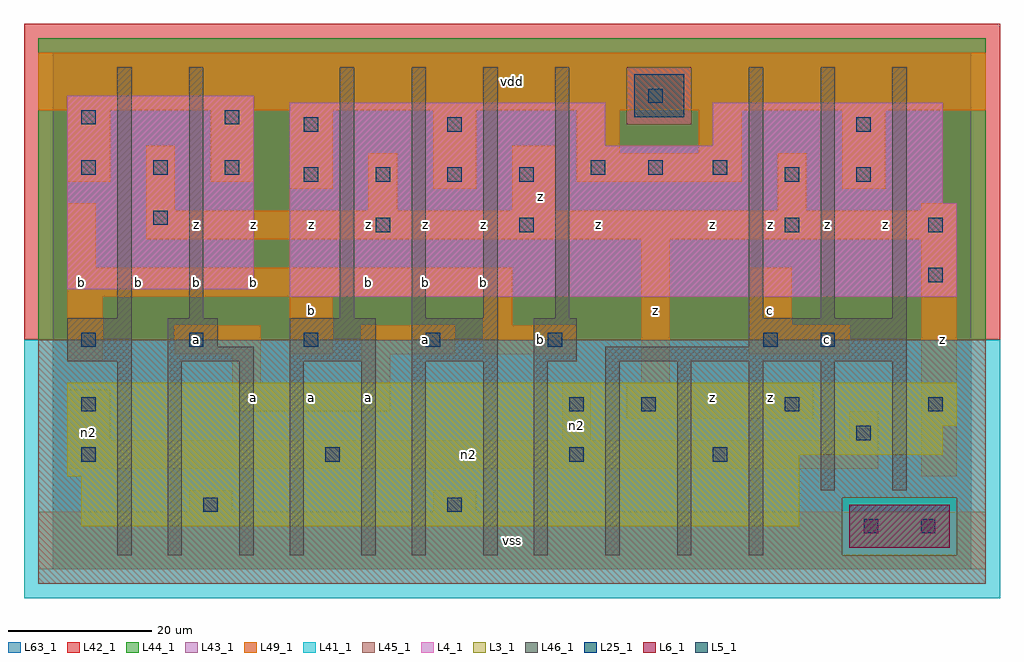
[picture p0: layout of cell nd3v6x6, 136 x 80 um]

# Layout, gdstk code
import gdstk
lib = gdstk.Library(unit=1e-6, precision=1e-09)
def R(c, l, rs):  # rectangles x0, y0, x1, y1
    for r in rs: c.add(gdstk.rectangle(r[:2], r[2:], *l))
def A(c, l, x, y, w, h, nx, ny, dx, dy):  # array of equal rectangles
    R(c, l, [(x+i*dx, y+j*dy, x+i*dx+w, y+j*dy+h) for i in range(nx) for j in range(ny)])
L3_1 = (3, 1)
L4_1 = (4, 1)
L5_1 = (5, 1)
L6_1 = (6, 1)
L25_1 = (25, 1)
L41_1 = (41, 1)
L42_1 = (42, 1)
L43_1 = (43, 1)
L44_1 = (44, 1)
L45_1 = (45, 1)
L46_1 = (46, 1)
L49_1 = (49, 1)
L63_1 = (63, 1)

nd3v6x6 = lib.new_cell('nd3v6x6')
R(nd3v6x6, L3_1, [(4,6,104,13), (2,13,104,16), (2,16,124,20), (2,20,126,26)])
R(nd3v6x6, L4_1, [(33,38,126,51), (2,39,28,66), (33,51,124,59), (33,59,77,65), (92,59,124,65)])
R(nd3v6x6, L5_1, [(81,63,88,69)])
R(nd3v6x6, L6_1, [(111,3,125,9), (111,3,125,9)])
A(nd3v6x6, L25_1, 4, 15, 2, 2, 3, 1, 34, 0)
A(nd3v6x6, L25_1, 82, 22, 2, 2, 3, 1, 20, 0)
A(nd3v6x6, L25_1, 35, 31, 2, 2, 3, 1, 17, 0)
A(nd3v6x6, L25_1, 35, 54, 2, 2, 4, 1, 10, 0)
A(nd3v6x6, L25_1, 4, 55, 2, 2, 3, 1, 10, 0)
R(nd3v6x6, L25_1, [(113,5,115,7), (121,5,123,7), (21,8,23,10), (55,8,57,10), (92,15,94,17), (112,18,114,20), (4,22,6,24), (72,22,74,24), (4,31,6,33), (19,31,21,33), (99,31,101,33), (107,31,109,33), (122,40,124,42), (45,47,47,49), (65,47,67,49), (102,47,104,49), (122,47,124,49), (14,48,16,50), (102,54,104,56), (112,54,114,56), (75,55,77,57), (83,55,85,57), (92,55,94,57), (35,61,37,63), (55,61,57,63), (112,61,114,63), (4,62,6,64), (24,62,26,64), (83,65,85,67)])
R(nd3v6x6, L41_1, [(-4,-4,132,32)])
R(nd3v6x6, L42_1, [(-4,32,132,76)])
R(nd3v6x6, L43_1, [(111,3,125,9), (4,6,104,13), (2,13,104,16), (2,16,124,20), (2,20,126,26), (33,38,126,51), (2,39,28,66), (33,51,124,59), (33,59,77,65), (92,59,124,65), (81,63,88,69)])
R(nd3v6x6, L44_1, [(110,2,126,10), (-2,32,130,62), (-2,62,80,70), (89,62,130,70), (-2,70,130,74)])
R(nd3v6x6, L45_1, [(-2,-2,130,2), (-2,2,110,10), (126,2,130,10), (-2,10,130,32), (80,62,89,70)])
A(nd3v6x6, L46_1, 67, 2, 2, 27, 4, 1, 10, 0)
A(nd3v6x6, L46_1, 40, 35, 2, 35, 4, 1, 10, 0)
A(nd3v6x6, L46_1, 97, 35, 2, 35, 3, 1, 10, 0)
R(nd3v6x6, L46_1, [(9,2,11,29), (16,2,18,29), (26,2,28,29), (33,2,35,29), (43,2,45,29), (50,2,52,29), (60,2,62,29), (107,11,109,29), (117,11,119,29), (2,29,11,35), (16,29,28,31), (33,29,45,35), (50,29,62,35), (67,29,73,35), (77,29,119,31), (16,31,23,35), (97,31,119,35), (9,35,11,70), (19,35,21,70)])
R(nd3v6x6, L49_1, [(-2,0,130,8), (19,8,25,11), (53,8,59,11), (121,13,126,46), (2,14,115,18), (2,18,8,25), (71,18,75,26), (111,18,115,22), (80,21,106,26), (25,22,47,26), (25,26,29,30), (43,26,47,30), (82,26,86,46), (2,29,7,38), (17,30,29,34), (33,30,39,38), (43,30,56,34), (60,30,73,34), (97,30,111,34), (60,34,64,38), (97,34,103,42), (2,38,64,42), (2,42,6,51), (13,46,126,50), (13,50,17,59), (44,50,48,58), (64,50,70,59), (101,50,105,58), (121,50,126,51), (33,53,39,64), (53,53,59,64), (110,53,116,64), (2,54,8,64), (22,54,28,64), (73,54,96,58), (73,58,79,64), (90,58,96,64), (-2,64,130,72)])
R(nd3v6x6, L63_1, [(0,0,128,72)])
nd3v6x6.add(gdstk.Label('n2', (5,19), layer=49, texttype=1))
nd3v6x6.add(gdstk.Label('a', (20,32), layer=49, texttype=1))
nd3v6x6.add(gdstk.Label('b', (4,40), layer=49, texttype=1))
nd3v6x6.add(gdstk.Label('b', (12,40), layer=49, texttype=1))
nd3v6x6.add(gdstk.Label('b', (20,40), layer=49, texttype=1))
nd3v6x6.add(gdstk.Label('z', (20,48), layer=49, texttype=1))
nd3v6x6.add(gdstk.Label('a', (44,24), layer=49, texttype=1))
nd3v6x6.add(gdstk.Label('a', (36,24), layer=49, texttype=1))
nd3v6x6.add(gdstk.Label('a', (28,24), layer=49, texttype=1))
nd3v6x6.add(gdstk.Label('b', (28,40), layer=49, texttype=1))
nd3v6x6.add(gdstk.Label('b', (44,40), layer=49, texttype=1))
nd3v6x6.add(gdstk.Label('b', (36,36), layer=49, texttype=1))
nd3v6x6.add(gdstk.Label('z', (36,48), layer=49, texttype=1))
nd3v6x6.add(gdstk.Label('z', (44,48), layer=49, texttype=1))
nd3v6x6.add(gdstk.Label('z', (28,48), layer=49, texttype=1))
nd3v6x6.add(gdstk.Label('vss', (64,4), layer=49, texttype=1))
nd3v6x6.add(gdstk.Label('n2', (73,20), layer=49, texttype=1))
nd3v6x6.add(gdstk.Label('b', (68,32), layer=49, texttype=1))
nd3v6x6.add(gdstk.Label('a', (52,32), layer=49, texttype=1))
nd3v6x6.add(gdstk.Label('b', (52,40), layer=49, texttype=1))
nd3v6x6.add(gdstk.Label('b', (60,40), layer=49, texttype=1))
nd3v6x6.add(gdstk.Label('z', (52,48), layer=49, texttype=1))
nd3v6x6.add(gdstk.Label('z', (68,52), layer=49, texttype=1))
nd3v6x6.add(gdstk.Label('z', (60,48), layer=49, texttype=1))
nd3v6x6.add(gdstk.Label('vdd', (64,68), layer=49, texttype=1))
nd3v6x6.add(gdstk.Label('z', (100,24), layer=49, texttype=1))
nd3v6x6.add(gdstk.Label('z', (92,24), layer=49, texttype=1))
nd3v6x6.add(gdstk.Label('z', (84,36), layer=49, texttype=1))
nd3v6x6.add(gdstk.Label('c', (100,36), layer=49, texttype=1))
nd3v6x6.add(gdstk.Label('z', (76,48), layer=49, texttype=1))
nd3v6x6.add(gdstk.Label('z', (100,48), layer=49, texttype=1))
nd3v6x6.add(gdstk.Label('z', (92,48), layer=49, texttype=1))
nd3v6x6.add(gdstk.Label('n2', (58,16), layer=49, texttype=1))
nd3v6x6.add(gdstk.Label('c', (108,32), layer=49, texttype=1))
nd3v6x6.add(gdstk.Label('z', (124,32), layer=49, texttype=1))
nd3v6x6.add(gdstk.Label('z', (108,48), layer=49, texttype=1))
nd3v6x6.add(gdstk.Label('z', (116,48), layer=49, texttype=1))

lib.write_gds('nd3v6x6.gds')
